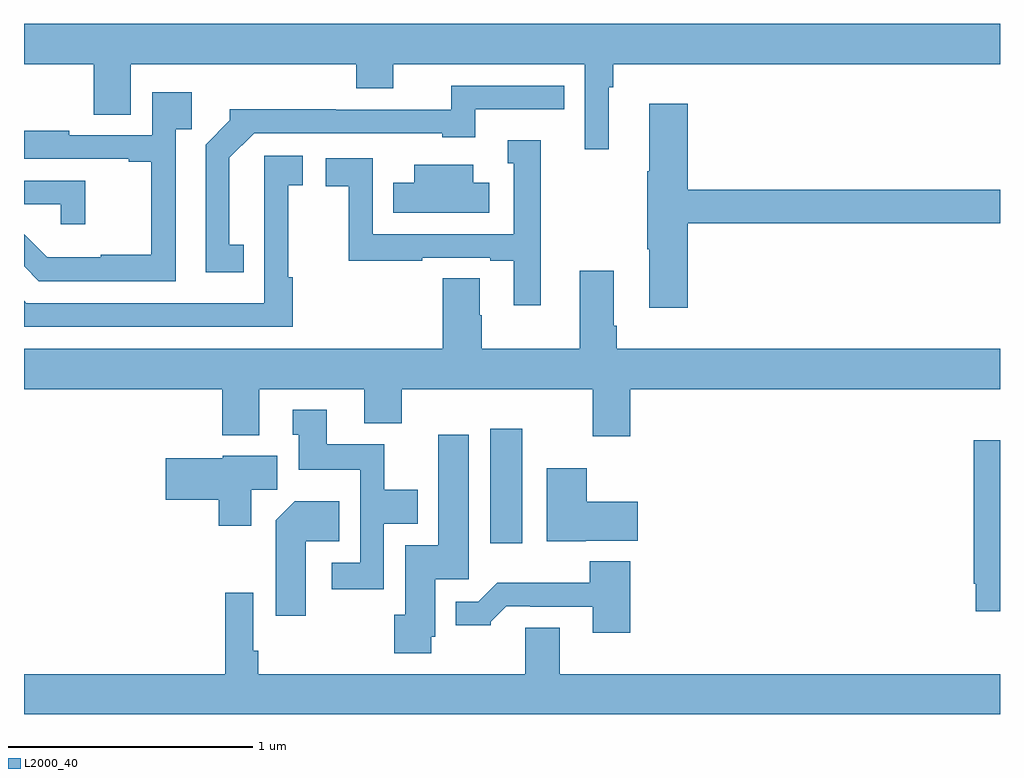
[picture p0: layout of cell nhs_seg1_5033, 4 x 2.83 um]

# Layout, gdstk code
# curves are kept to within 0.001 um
import gdstk
lib = gdstk.Library(unit=1e-6, precision=1e-09)
def R(c, l, rs):  # rectangles x0, y0, x1, y1
    for r in rs: c.add(gdstk.rectangle(r[:2], r[2:], *l))
def P(c, l, *ps):  # polygons
    for p in ps: c.add(gdstk.Polygon(p, *l))
L2000_40 = (2000, 40)

nhs_seg1_5033 = lib.new_cell('nhs_seg1_5033')
R(nhs_seg1_5033, L2000_40, [(384.911,563.088,385.042,563.557)])
P(nhs_seg1_5033, L2000_40, [(385.396,564.956),(385.415,564.956),(385.415,565.052),(387,565.052),(387,565.216),(383,565.216),(383,565.052),(383.285,565.052),(383.285,564.844),(383.437,564.844),(383.437,565.052),(384.362,565.052),(384.362,564.953),(384.514,564.953),(384.514,565.052),(385.299,565.052),(385.299,564.702),(385.396,564.702)],
  [(383.9,564.311),(383.842,564.311),(383.842,564.667),(383.943,564.768),(384.714,564.768),(384.714,564.752),(384.85,564.752),(384.85,564.867),(385.214,564.867),(385.214,564.963),(384.751,564.963),(384.751,564.864),(384.278,564.864),(384.278,564.866),(383.844,564.866),(383.844,564.821),(383.745,564.722),(383.745,564.198),(383.9,564.198)],
  [(383.622,564.785),(383.687,564.785),(383.687,564.937),(383.526,564.937),(383.526,564.759),(383.185,564.759),(383.185,564.778),(383,564.778),(383,564.663),(383.429,564.663),(383.429,564.651),(383.521,564.651),(383.521,564.271),(383.315,564.271),(383.315,564.259),(383.096,564.259),(383,564.355),(383,564.223),(383.061,564.162),(383.622,564.162)],
  [(385.721,564.4),(387,564.4),(387,564.536),(385.721,564.536),(385.721,564.889),(385.562,564.889),(385.562,564.613),(385.555,564.613),(385.555,564.292),(385.562,564.292),(385.562,564.054),(385.721,564.054)],
  [(385.117,564.739),(384.983,564.739),(384.983,564.645),(385.008,564.645),(385.008,564.354),(384.429,564.354),(384.429,564.666),(384.237,564.666),(384.237,564.55),(384.331,564.55),(384.331,564.246),(384.632,564.246),(384.632,564.258),(384.911,564.258),(384.911,564.246),(385.007,564.246),(385.007,564.063),(385.117,564.063)],
  [(384.101,564.179),(384.084,564.179),(384.084,564.555),(384.142,564.555),(384.142,564.676),(383.984,564.676),(383.985,564.072),(383.01,564.072),(383,564.082),(383,563.976),(384.101,563.976)],
  [(384.907,564.565),(384.841,564.565),(384.841,564.64),(384.599,564.64),(384.599,564.565),(384.514,564.565),(384.514,564.443),(384.907,564.443)],
  [(383.252,564.573),(383,564.573),(383,564.477),(383.151,564.477),(383.151,564.396),(383.252,564.396)],
  [(385.484,563.72),(387,563.72),(387,563.884),(385.43,563.884),(385.43,563.98),(385.417,563.98),(385.417,564.205),(385.277,564.205),(385.277,563.884),(384.876,563.884),(384.876,564.023),(384.868,564.023),(384.868,564.173),(384.716,564.173),(384.716,563.884),(383,563.884),(383,563.72),(383.813,563.72),(383.813,563.531),(383.965,563.531),(383.965,563.72),(384.395,563.72),(384.395,563.579),(384.548,563.579),(384.548,563.72),(385.331,563.72),(385.331,563.526),(385.484,563.526)],
  [(384.474,563.168),(384.613,563.168),(384.613,563.308),(384.477,563.308),(384.477,563.494),(384.241,563.494),(384.241,563.635),(384.101,563.635),(384.101,563.532),(384.125,563.532),(384.125,563.39),(384.378,563.39),(384.378,563.007),(384.261,563.007),(384.261,562.899),(384.474,562.899)],
  [(384.669,562.704),(384.685,562.704),(384.685,562.941),(384.823,562.941),(384.823,563.533),(384.698,563.533),(384.698,563.08),(384.563,563.08),(384.563,562.794),(384.517,562.794),(384.517,562.638),(384.669,562.638)],
  [(387,563.509),(386.893,563.509),(386.893,562.921),(386.901,562.921),(386.901,562.809),(387,562.809)],
  [(383.932,563.308),(384.037,563.308),(384.037,563.446),(383.814,563.446),(383.814,563.437),(383.58,563.437),(383.58,563.267),(383.798,563.267),(383.798,563.16),(383.932,563.16)],
  [(385.302,563.099),(385.516,563.099),(385.516,563.257),(385.306,563.257),(385.306,563.395),(385.142,563.395),(385.142,563.096),(385.302,563.096)],
  [(384.154,563.096),(384.293,563.096),(384.293,563.26),(384.11,563.26),(384.032,563.182),(384.032,562.791),(384.154,562.791)],
  [(385.484,563.014),(385.319,563.014),(385.319,562.927),(384.94,562.927),(384.861,562.848),(384.77,562.848),(384.77,562.751),(384.912,562.751),(384.912,562.766),(384.976,562.83),(385.075,562.83),(385.075,562.827),(385.331,562.827),(385.331,562.722),(385.484,562.722)],
  [(387,562.552),(385.195,562.552),(385.195,562.742),(385.055,562.742),(385.055,562.552),(383.96,562.552),(383.96,562.648),(383.94,562.648),(383.94,562.885),(383.824,562.885),(383.824,562.552),(383,562.552),(383,562.388),(387,562.388)])

lib.write_gds('nhs_seg1_5033.gds')
